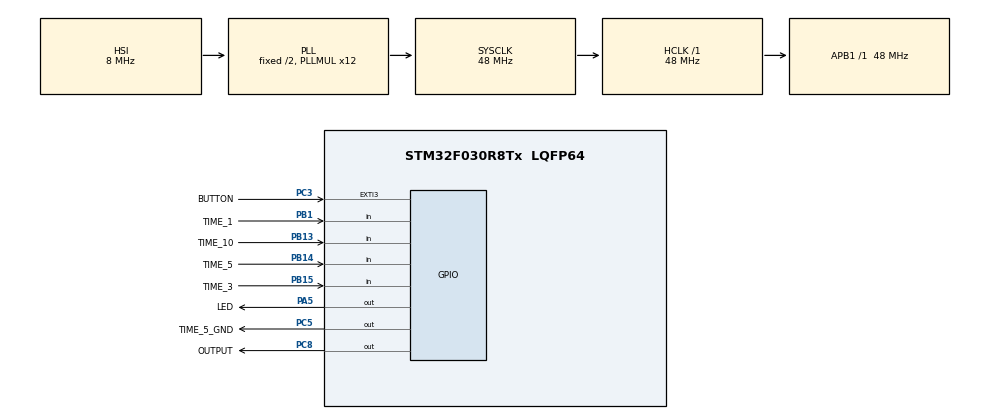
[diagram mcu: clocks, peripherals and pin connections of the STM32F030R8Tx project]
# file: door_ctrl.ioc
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Mcu.Family=STM32F0
Mcu.Name=STM32F030R8Tx
Mcu.Package=LQFP64
NVIC.EXTI2_3_IRQn=true\:0\:0\:false\:false\:true\:true\:true\:true
PA13.GPIO_Label=TMS
PA13.Mode=Serial_Wire
PA13.Signal=SYS_SWDIO
PA14.GPIO_Label=TCK
PA14.Mode=Serial_Wire
PA14.Signal=SYS_SWCLK
PA5.GPIO_Label=LED
PA5.GPIO_Mode=GPIO_MODE_OUTPUT_PP
PA5.GPIO_PuPd=GPIO_NOPULL
PA5.GPIO_Speed=GPIO_SPEED_FREQ_LOW
PA5.PinState=GPIO_PIN_SET
PA5.Signal=GPIO_Output
PB1.GPIO_Label=TIME_1
PB1.GPIO_PuPd=GPIO_PULLUP
PB1.Signal=GPIO_Input
PB13.GPIO_Label=TIME_10
PB13.GPIO_PuPd=GPIO_PULLUP
PB13.Signal=GPIO_Input
PB14.GPIO_Label=TIME_5
PB14.GPIO_PuPd=GPIO_PULLUP
PB14.Signal=GPIO_Input
PB15.GPIO_Label=TIME_3
PB15.GPIO_PuPd=GPIO_PULLUP
PB15.Signal=GPIO_Input
PC14-OSC32_IN.Mode=LSE-External-Oscillator
PC14-OSC32_IN.Signal=RCC_OSC32_IN
PC15-OSC32_OUT.Mode=LSE-External-Oscillator
PC15-OSC32_OUT.Signal=RCC_OSC32_OUT
PC3.GPIO_Label=BUTTON
PC3.GPIO_ModeDefaultEXTI=GPIO_MODE_IT_FALLING
PC3.GPIO_PuPd=GPIO_PULLUP
PC3.Signal=GPXTI3
PC5.GPIO_Label=TIME_5_GND
PC5.GPIO_PuPd=GPIO_PULLUP
PC5.PinState=GPIO_PIN_SET
PC5.Signal=GPIO_Output
PC8.GPIO_Label=OUTPUT
PC8.GPIO_ModeDefaultOutputPP=GPIO_MODE_OUTPUT_OD
PC8.GPIO_PuPd=GPIO_NOPULL
PC8.PinState=GPIO_PIN_SET
PC8.Signal=GPIO_Output
PF0-OSC_IN.Mode=HSE-External-Clock-Source
PF0-OSC_IN.Signal=RCC_OSC_IN
PF1-OSC_OUT.Signal=RCC_OSC_OUT
ProjectManager.HeapSize=0x200
ProjectManager.StackSize=0x400
ProjectManager.TargetToolchain=STM32CubeIDE
RCC.AHBFreq_Value=48000000
RCC.APB1Freq_Value=48000000
RCC.APB1TimFreq_Value=48000000
RCC.HCLKFreq_Value=48000000
RCC.PLLMUL=RCC_PLL_MUL12
RCC.SYSCLKFreq_VALUE=48000000
RCC.SYSCLKSource=RCC_SYSCLKSOURCE_PLLCLK
board=NUCLEO-F030R8

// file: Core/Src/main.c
/* USER CODE BEGIN Header */
/**
 ******************************************************************************
 * @file           : main.c
 * @brief          : Main program body
 ******************************************************************************
 * @attention
 *
 * Copyright (c) 2022 STMicroelectronics.
 * All rights reserved.
 *
 * This software is licensed under terms that can be found in the LICENSE file
 * in the root directory of this software component.
 * If no LICENSE file comes with this software, it is provided AS-IS.
 *
 ******************************************************************************
 */
/* USER CODE END Header */
#include "main.h"
#include "gpio.h"

/* USER CODE BEGIN Includes */
#include "door_ctrl.h"
/* USER CODE END Includes */

/* USER CODE BEGIN PV */
static uint32_t led_time = 0;
/* USER CODE END PV */

void SystemClock_Config(void);
/* USER CODE BEGIN PFP */
void led_ctrl(void);
/* USER CODE END PFP */

int main(void)
{

	/* MCU Configuration--------------------------------------------------------*/

	/* Reset of all peripherals, Initializes the Flash interface and the Systick. */
	HAL_Init();

	/* USER CODE BEGIN Init */
	led_time = HAL_GetTick();
	/* USER CODE END Init */

	/* Configure the system clock */
	SystemClock_Config();

	/* USER CODE BEGIN SysInit */
	read_config();
	/* USER CODE END SysInit */

	/* Initialize all configured peripherals */
	MX_GPIO_Init();

	/* Infinite loop */
	while (1)
	{

		/* USER CODE BEGIN 3 */
		door_ctrl_process();
		led_ctrl();
	}
	/* USER CODE END 3 */
}

void SystemClock_Config(void)
{
	RCC_OscInitTypeDef RCC_OscInitStruct = {0};
	RCC_ClkInitTypeDef RCC_ClkInitStruct = {0};

	/** Initializes the RCC Oscillators according to the specified parameters
	 * in the RCC_OscInitTypeDef structure.
	 */
	RCC_OscInitStruct.OscillatorType = RCC_OSCILLATORTYPE_HSI;
	RCC_OscInitStruct.HSIState = RCC_HSI_ON;
	RCC_OscInitStruct.HSICalibrationValue = RCC_HSICALIBRATION_DEFAULT;
	RCC_OscInitStruct.PLL.PLLState = RCC_PLL_ON;
	RCC_OscInitStruct.PLL.PLLSource = RCC_PLLSOURCE_HSI;
	RCC_OscInitStruct.PLL.PLLMUL = RCC_PLL_MUL12;
	RCC_OscInitStruct.PLL.PREDIV = RCC_PREDIV_DIV1;
	if (HAL_RCC_OscConfig(&RCC_OscInitStruct) != HAL_OK)
	{
		Error_Handler();
	}

	/** Initializes the CPU, AHB and APB buses clocks
	 */
	RCC_ClkInitStruct.ClockType = RCC_CLOCKTYPE_HCLK|RCC_CLOCKTYPE_SYSCLK
			|RCC_CLOCKTYPE_PCLK1;
	RCC_ClkInitStruct.SYSCLKSource = RCC_SYSCLKSOURCE_PLLCLK;
	RCC_ClkInitStruct.AHBCLKDivider = RCC_SYSCLK_DIV1;
	RCC_ClkInitStruct.APB1CLKDivider = RCC_HCLK_DIV1;

	if (HAL_RCC_ClockConfig(&RCC_ClkInitStruct, FLASH_LATENCY_1) != HAL_OK)
	{
		Error_Handler();
	}
}

/* USER CODE BEGIN 4 */
void led_ctrl(void)
{
	static GPIO_PinState pin_state = GPIO_PIN_SET;
	const uint8_t BLINK_TIME_MS = 100;

	if (led_time > HAL_GetTick()) {
		led_time = HAL_GetTick();
	} else if ((HAL_GetTick() - led_time) >= BLINK_TIME_MS) {
		HAL_GPIO_WritePin(LED_GPIO_Port, LED_Pin, (pin_state ^= 1));
		led_time = HAL_GetTick();
	} else {
		UNUSED(1);
	}

}
/* USER CODE END 4 */

void Error_Handler(void)
{
	__disable_irq();
	while (1)
	{
	}
}
